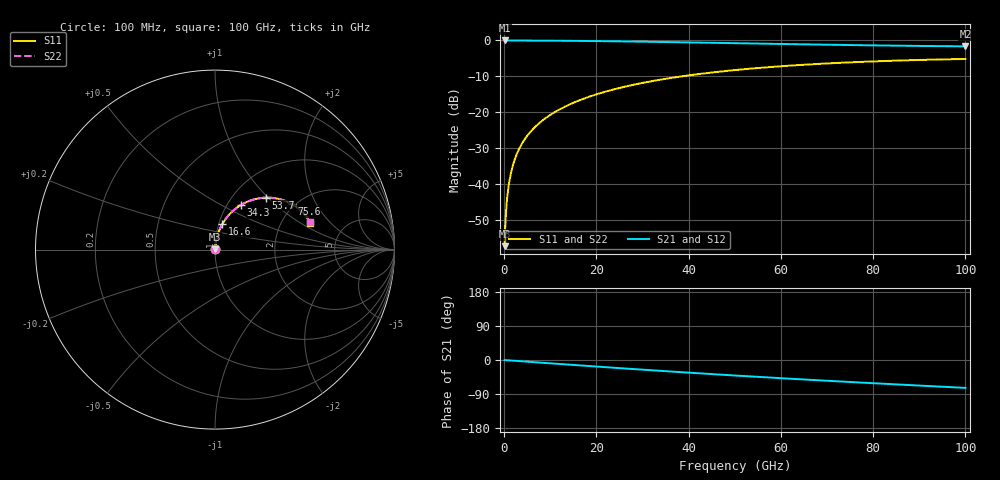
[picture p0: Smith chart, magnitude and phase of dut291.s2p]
! Touchstone file exported from HFSS 2026.1.0
!  File:  C:/ffzhzh/LocalFiles/Ansys_Project_Files/temp_train_RDL_291_1783502197_31944.aedt
!  Generated:  05:17:50 PM Jul  8, 2026
!  Design:  RDL
!  Project:  temp_train_RDL_291_1783502197_31944
! Variables:
!  h_bsmrdl = 2um
!  h_ox = 20um
!  h_rdl = 5um
!  h_sub = 80um
!  h_tmrdl = 4.98um
!  h_tsv = 80um
!  h_via = 3um
!  l_bsmrdl = 300um
!  l_sub = 615.07um
!  l_tmrdl = 215.07um
!  m_sub = 200um
!  pitch = 49.33um
!  r_tsv = 6um
!  s_tmrdl = 10um
!  w_bsmrdl = 18um
!  w_sub = 500um
!  w_tmrdl = 20.54um
!  x_tsv_center1 = 225.34um
!  x_tsv_center2 = 543.34um
!  x_tsv_center3 = 778.95um
!  x_tsv_center4 = 1096.95um
!  x_tsv_center5 = 1332.56um
!  x_tsv_center6 = 1650.56um
# GHz S MA R 50.000000
! Terminal data exported
! Port[1] = TM_RDL1_1_T1
! Port[2] = TM_RDL1_1_T2
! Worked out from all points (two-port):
!   1000 points, 100 MHz to 100 GHz, reference 50 ohm
!   highest |S21| = -0.01 dB at 100 MHz (marker M1); lowest = -1.6 dB at 100 GHz (marker M2)
!   |S21| within 3 dB of the highest: start of sweep to end of sweep
!   lowest |S11| = -57.3 dB at 100 MHz (marker M3), VSWR 1.00, Z = 50.1 + j0.102 ohm
!   |S11| at or under -10 dB: start of sweep to 38.55 GHz
!   |S22| runs from -57.3 to -5.2 dB; largest |S21 - S12| = 3.1e-15
!   S11 on the Smith chart (normalised r, x): 100 MHz: 1.00, +0.00; 16.6 GHz: 1.04, +0.30; 34.3 GHz: 1.16, +0.63; 53.7 GHz: 1.40, +0.97; 75.6 GHz: 1.91, +1.29; 100 GHz: 2.86, +1.24
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0.1  0.001358 48.8  0.9991 -0.1  0.9991 -0.1  0.001358 48.8
! Gamma 0 0 0 0
! Port Impedance 50 0 50 0
0.4  0.004048 75.1  0.999 -0.4  0.999 -0.4  0.004048 75.1
0.8  0.007784 81.2  0.9989 -0.7  0.9989 -0.7  0.007784 81.2
1.1  0.01061 82.8  0.9988 -1.0  0.9988 -1.0  0.01061 82.8
1.4  0.01345 83.6  0.9987 -1.3  0.9987 -1.3  0.01345 83.6
1.9  0.01817 84.1  0.9985 -1.7  0.9985 -1.7  0.01817 84.1
2.4  0.02286 84.2  0.9983 -2.2  0.9983 -2.2  0.02286 84.2
3.8  0.03587 83.6  0.9975 -3.4  0.9975 -3.4  0.03587 83.6
5.9  0.05503 82.2  0.996 -5.2  0.996 -5.2  0.05502 82.2
8.7  0.08012 80.1  0.9937 -7.7  0.9937 -7.7  0.08012 80.1
12.2  0.111 77.4  0.9901 -10.7  0.9901 -10.7  0.1109 77.4
16.6  0.1488 73.9  0.9846 -14.4  0.9846 -14.4  0.1488 73.9
16.8  0.1505 73.8  0.9843 -14.6  0.9843 -14.6  0.1505 73.8
24.2  0.2112 67.8  0.9723 -20.8  0.9723 -20.8  0.2112 67.8
33.4  0.2807 60.6  0.954 -28.2  0.954 -28.2  0.2807 60.6
34.3  0.2871 59.9  0.952 -29.0  0.952 -29.0  0.287 59.9
50.1  0.3866 48.1  0.9156 -41.0  0.9156 -41.0  0.3866 48.1
53.7  0.4059 45.5  0.9072 -43.6  0.9072 -43.6  0.4059 45.5
66.7  0.4653 36.6  0.8783 -52.6  0.8783 -52.6  0.4652 36.6
75.6  0.4971 30.8  0.8607 -58.5  0.8607 -58.5  0.497 30.8
83.4  0.5194 25.9  0.8475 -63.4  0.8475 -63.4  0.5194 25.9
100  0.5514 15.9  0.827 -73.6  0.827 -73.6  0.5514 15.9
